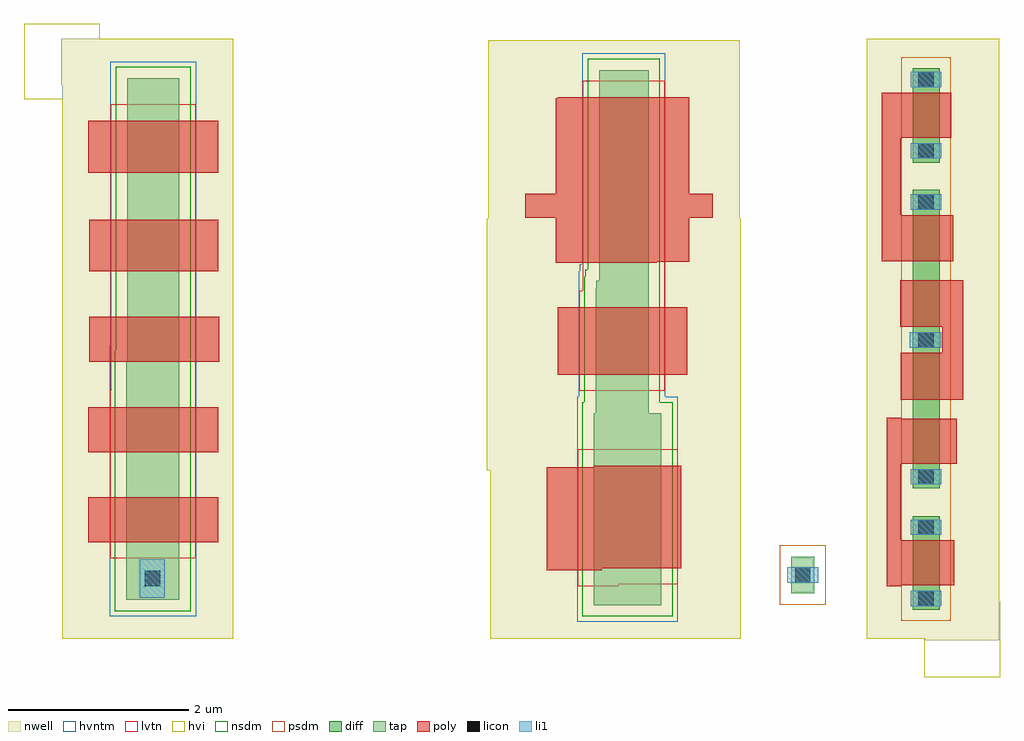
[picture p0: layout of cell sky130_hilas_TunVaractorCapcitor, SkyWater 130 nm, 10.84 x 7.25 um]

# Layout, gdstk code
import gdstk
lib = gdstk.Library(unit=1e-6, precision=1e-09)
def R(c, l, rs):  # rectangles x0, y0, x1, y1
    for r in rs: c.add(gdstk.rectangle(r[:2], r[2:], *l))
nwell = (64, 20)
diff = (65, 20)
tap = (65, 44)
poly = (66, 20)
licon = (66, 44)
li1 = (67, 20)
hvi = (75, 20)
nsdm = (93, 44)
psdm = (94, 20)
hvntm = (125, 20)
lvtn = (125, 44)

sky130_hilas_tunvaractor = lib.new_cell('sky130_hilas_TunVaractorCapcitor')
R(sky130_hilas_tunvaractor, nwell, [(9.59,0,10.41,0.02), (0.01,0.02,1.91,6.17), (4.76,0.02,7.54,1.89), (8.94,0.02,10.41,6.68), (4.72,1.89,7.54,4.68), (4.74,4.68,7.53,6.66), (0,6.17,1.91,6.68)])
R(sky130_hilas_tunvaractor, diff, [(9.45,0.34,9.75,1.38), (9.45,1.69,9.75,5), (9.45,5.3,9.75,6.35)])
R(sky130_hilas_tunvaractor, tap, [(5.91,0.39,6.66,2.52), (0.72,0.45,1.31,3.09), (8.1,0.52,8.36,0.93), (5.93,2.52,6.52,3.91), (0.73,3.09,1.31,6.24), (5.94,3.91,6.52,3.99), (5.97,3.99,6.52,6.33)])
R(sky130_hilas_tunvaractor, poly, [(9.16,0.6,9.32,0.61), (9.16,0.61,9.91,1.11), (5.39,0.78,6,0.8), (5.39,0.8,6.88,1.92), (0.3,1.09,1.74,1.59), (9.16,1.11,9.32,1.96), (5.91,1.92,6.88,1.94), (9.16,1.96,9.94,2.46), (0.3,2.09,1.74,2.59), (9.16,2.46,9.32,2.47), (9.32,2.67,10.01,3.19), (5.51,2.95,6.95,3.7), (0.31,3.09,1.75,3.59), (9.78,3.19,10.01,3.48), (9.31,3.48,10.01,4), (0.31,4.1,1.74,4.67), (5.49,4.19,6.61,4.2), (5.49,4.2,6.97,4.69), (9.11,4.21,9.9,4.72), (5.15,4.69,7.23,4.96), (9.11,4.72,9.32,5.58), (5.49,4.96,6.97,6.02), (0.3,5.19,1.74,5.77), (9.11,5.58,9.88,6.08), (5.51,6.02,6.97,6.03)])
R(sky130_hilas_tunvaractor, licon, [(9.515,0.38,9.685,0.55), (0.925,0.6,1.095,0.77), (8.145,0.64,8.315,0.81), (9.515,1.17,9.685,1.34), (9.515,1.73,9.685,1.9), (9.515,3.25,9.685,3.42), (9.515,4.78,9.685,4.95), (9.515,5.35,9.685,5.52), (9.515,6.14,9.685,6.31)])
R(sky130_hilas_tunvaractor, li1, [(9.43,0.38,9.77,0.55), (0.87,0.47,1.15,0.9), (8.06,0.64,8.4,0.81), (9.43,1.17,9.77,1.34), (9.43,1.73,9.77,1.9), (9.42,3.25,9.77,3.42), (9.43,4.78,9.77,4.95), (9.43,5.35,9.77,5.52), (9.43,6.14,9.77,6.31)])
R(sky130_hilas_tunvaractor, hvi, [(9.58,-0.41,10.42,0.02), (0.01,0.02,1.91,6.005), (4.76,0.02,7.54,1.89), (8.94,0.02,10.42,0.43), (8.94,0.43,10.41,6.68), (4.72,1.89,7.54,4.68), (4.74,4.68,7.53,6.66), (-0.415,6.005,1.91,6.68), (-0.415,6.68,0.425,6.845)])
R(sky130_hilas_tunvaractor, nsdm, [(5.785,0.265,6.785,2.645), (0.595,0.325,1.435,3.215), (5.805,2.645,6.645,4.035), (0.605,3.215,1.435,6.365), (5.815,4.035,6.645,4.115), (5.845,4.115,6.645,6.455)])
R(sky130_hilas_tunvaractor, psdm, [(9.325,0.215,9.875,6.475), (7.975,0.395,8.485,1.055)])
R(sky130_hilas_tunvaractor, hvntm, [(5.725,0.205,6.845,2.705), (0.535,0.265,1.495,3.275), (5.745,2.705,6.705,4.095), (0.545,3.275,1.495,6.425), (5.755,4.095,6.705,4.175), (5.785,4.175,6.705,6.515)])
R(sky130_hilas_tunvaractor, lvtn, [(5.73,0.6,6.18,0.62), (5.73,0.62,6.84,2.12), (0.54,0.91,1.49,2.77), (0.55,2.77,1.49,5.95), (5.75,2.77,6.7,3.88), (5.79,3.88,6.7,6.21)])

lib.write_gds('sky130_hilas_TunVaractorCapcitor.gds')
